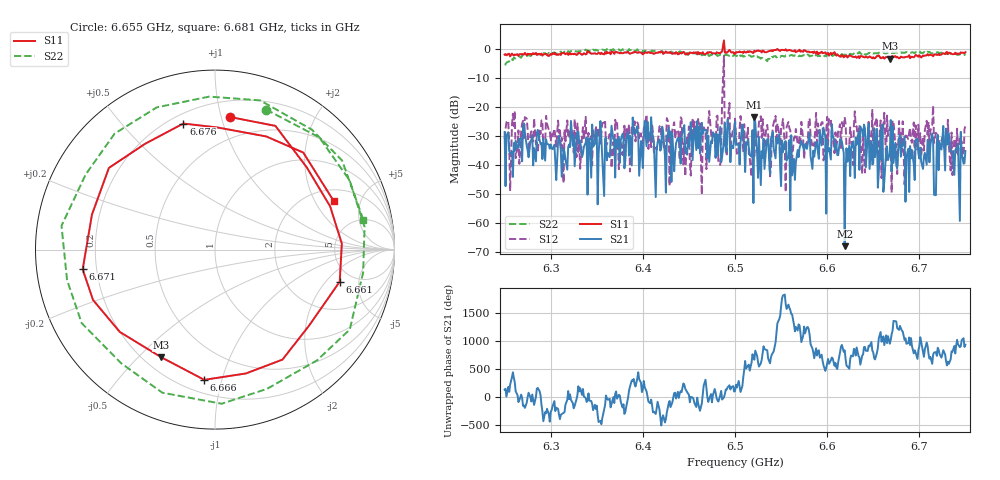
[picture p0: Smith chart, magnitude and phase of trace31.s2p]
# Hz S RI R 50
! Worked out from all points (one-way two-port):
!   401 points, 6.25 GHz to 6.75 GHz, reference 50 ohm
!   highest |S21| = -23.58 dB at 6.521 GHz (marker M1); lowest = -68.0 dB at 6.619 GHz (marker M2)
!   lowest |S11| = -3.5 dB at 6.668 GHz (marker M3), VSWR 5.07, Z = 13.4 - j29.3 ohm
!   |S11| at or under -10 dB: nowhere
!   |S22| runs from -5.5 to -0.1 dB; largest |S21 - S12| = 0.77
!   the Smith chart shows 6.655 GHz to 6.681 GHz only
!   S11 on the Smith chart (normalised r, x): 6.655 GHz: 0.32, +1.07; 6.661 GHz: 3.88, -2.86; 6.666 GHz: 0.28, -0.88; 6.671 GHz: 0.15, -0.07; 6.676 GHz: 0.25, +0.75; 6.681 GHz: 2.64, +2.89
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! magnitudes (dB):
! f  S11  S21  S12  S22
! 6.25 GHz  -2.0  -28.7  -31.0  -5.5
! 6.334 GHz  -2.1  -37.3  -30.2  -0.5
! 6.418 GHz  -1.2  -31.3  -26.9  -1.2
! 6.5 GHz  -1.8  -25.1  -24.1  -2.3
! 6.521 GHz  -0.7  -23.6  -37.5  -2.3
! 6.529 GHz  -1.3  -35.3  -30.8  -3.2
! 6.539 GHz  -0.7  -31.1  -40.8  -3.7
! 6.544 GHz  -0.5  -37.8  -23.2  -2.6
! 6.562 GHz  -0.8  -43.7  -38.0  -2.3
! 6.584 GHz  -1.1  -41.4  -34.0  -2.4
! 6.608 GHz  -1.2  -32.0  -36.0  -1.9
! 6.619 GHz  -2.6  -68.0  -23.5  -2.0
! 6.639 GHz  -2.9  -30.2  -29.6  -1.6
! 6.655 GHz  -2.6  -47.9  -36.0  -1.6
! 6.661 GHz  -2.9  -49.3  -26.3  -1.2
! 6.666 GHz  -2.8  -38.4  -29.9  -1.4
! 6.668 GHz  -3.5  -36.1  -27.1  -1.7
! 6.671 GHz  -2.6  -26.8  -24.7  -1.3
! 6.676 GHz  -2.8  -41.2  -43.2  -1.4
! 6.681 GHz  -2.9  -33.4  -35.5  -1.5
! 6.688 GHz  -2.7  -34.5  -31.2  -1.3
! 6.75 GHz  -1.2  -35.3  -26.6  -2.3
